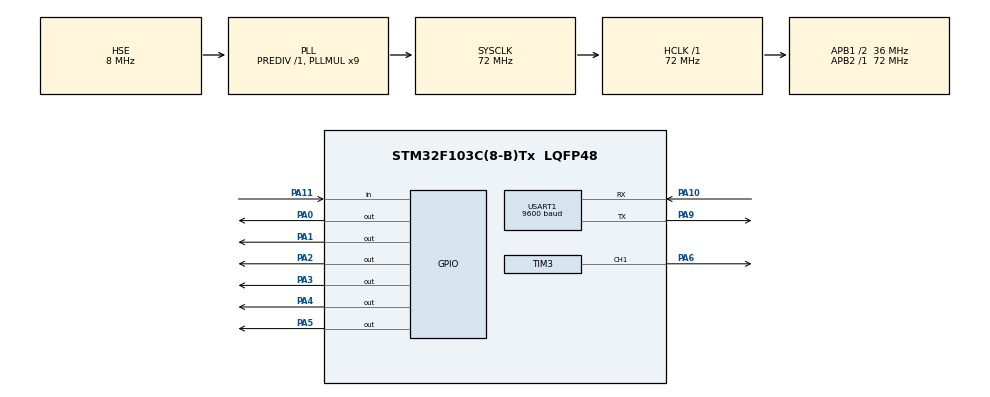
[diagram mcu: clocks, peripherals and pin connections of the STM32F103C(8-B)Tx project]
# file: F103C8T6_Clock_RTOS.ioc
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FREERTOS.Mutexes01=myLCD_Mutex,Dynamic,NULL;myRTC_Mutex,Dynamic,NULL
FREERTOS.Queues01=setTimeQueue,3,RTC_TimeTypeDef,0,Dynamic,NULL,NULL;setDateQueue,3,RTC_DateTypeDef,0,Dynamic,NULL,NULL;setAlarmQueue,3,ALARM_TypeDef,0,Dynamic,NULL,NULL;setRingQueue,3,uint8_t,0,Dynamic,NULL,NULL
FREERTOS.Tasks01=defaultTask,24,128,StartDefaultTask,Default,NULL,Dynamic,NULL,NULL;myUART_task,24,128,StartUART_task,Default,NULL,Dynamic,NULL,NULL;myLCD_task,24,128,StartLCD_task,Default,NULL,Dynamic,NULL,NULL;mySetTime_task,24,128,StartSetTime_task,Default,NULL,Dynamic,NULL,NULL;mySetDate_task,24,128,StartSetDate_task,Default,NULL,Dynamic,NULL,NULL;myAlarm_task,24,128,StartAlarm_task,Default,NULL,Dynamic,NULL,NULL;mySetAlarm_task,24,128,StartSetAlarm_task,Default,NULL,Dynamic,NULL,NULL;myRing_task,24,128,StartRing_task,Default,NULL,Dynamic,NULL,NULL;myButtons_task,24,128,StartButtons_task,Default,NULL,Dynamic,NULL,NULL
FREERTOS.configTOTAL_HEAP_SIZE=8192
Mcu.Family=STM32F1
Mcu.Name=STM32F103C(8-B)Tx
Mcu.Package=LQFP48
NVIC.PriorityGroup=NVIC_PRIORITYGROUP_4
NVIC.RTC_IRQn=true\:5\:0\:false\:false\:true\:true\:true\:true
NVIC.TIM1_UP_IRQn=true\:0\:0\:false\:false\:true\:false\:false\:true
NVIC.TIM2_IRQn=true\:5\:0\:false\:false\:true\:true\:true\:true
NVIC.TIM3_IRQn=true\:5\:0\:false\:false\:true\:true\:true\:true
NVIC.TimeBase=TIM1_UP_IRQn
NVIC.TimeBaseIP=TIM1
NVIC.USART1_IRQn=true\:5\:0\:false\:false\:true\:true\:true\:true
PA0-WKUP.Signal=GPIO_Output
PA1.Signal=GPIO_Output
PA10.Mode=Asynchronous
PA10.Signal=USART1_RX
PA11.GPIO_PuPd=GPIO_PULLDOWN
PA11.Signal=GPIO_Input
PA13.Mode=Serial_Wire
PA13.Signal=SYS_JTMS-SWDIO
PA14.Mode=Serial_Wire
PA14.Signal=SYS_JTCK-SWCLK
PA2.Signal=GPIO_Output
PA3.Signal=GPIO_Output
PA4.Signal=GPIO_Output
PA5.Signal=GPIO_Output
PA6.Signal=S_TIM3_CH1
PA9.Mode=Asynchronous
PA9.Signal=USART1_TX
PC14-OSC32_IN.Mode=LSE-External-Oscillator
PC14-OSC32_IN.Signal=RCC_OSC32_IN
PC15-OSC32_OUT.Mode=LSE-External-Oscillator
PC15-OSC32_OUT.Signal=RCC_OSC32_OUT
PD0-OSC_IN.Mode=HSE-External-Oscillator
PD0-OSC_IN.Signal=RCC_OSC_IN
PD1-OSC_OUT.Mode=HSE-External-Oscillator
PD1-OSC_OUT.Signal=RCC_OSC_OUT
ProjectManager.HeapSize=0x200
ProjectManager.StackSize=0x400
ProjectManager.TargetToolchain=MDK-ARM V5.27
RCC.AHBFreq_Value=72000000
RCC.APB1CLKDivider=RCC_HCLK_DIV2
RCC.APB1Freq_Value=36000000
RCC.APB1TimFreq_Value=72000000
RCC.APB2Freq_Value=72000000
RCC.APB2TimFreq_Value=72000000
RCC.HCLKFreq_Value=72000000
RCC.PLLMUL=RCC_PLL_MUL9
RCC.PLLSourceVirtual=RCC_PLLSOURCE_HSE
RCC.RTCClockSelection=RCC_RTCCLKSOURCE_LSE
RCC.SYSCLKFreq_VALUE=72000000
RCC.SYSCLKSource=RCC_SYSCLKSOURCE_PLLCLK
RCC.USBFreq_Value=72000000
SH.S_TIM3_CH1.0=TIM3_CH1,PWM Generation1 CH1
TIM2.Period=0xffff-1
TIM2.Prescaler=8-1
TIM3.Channel-PWM\ Generation1\ CH1=TIM_CHANNEL_1
TIM3.Period=3032
TIM3.Prescaler=17
TIM3.Pulse-PWM\ Generation1\ CH1=1500
USART1.BaudRate=9600
USART1.VirtualMode=VM_ASYNC
VP_FREERTOS_VS_CMSIS_V2.Mode=CMSIS_V2
VP_RTC_No_RTC_Output.Mode=RTC_OUT_NO
VP_RTC_VS_RTC_Activate.Mode=RTC_Enabled
VP_RTC_VS_RTC_Calendar.Mode=RTC_Calendar
VP_SYS_VS_tim1.Mode=TIM1
VP_TIM2_VS_ClockSourceINT.Mode=Internal
board=custom

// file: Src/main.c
/* USER CODE BEGIN Header */
/**
  ******************************************************************************
  * @file           : main.c
  * @brief          : Main program body
  ******************************************************************************
  * @attention
  *
  * <h2><center>&copy; Copyright (c) 2020 STMicroelectronics.
  * All rights reserved.</center></h2>
  *
  * This software component is licensed by ST under BSD 3-Clause license,
  * the "License"; You may not use this file except in compliance with the
  * License. You may obtain a copy of the License at:
  *                        opensource.org/licenses/BSD-3-Clause
  *
  ******************************************************************************
  */
/* USER CODE END Header */

#include "main.h"
#include "cmsis_os.h"

/* USER CODE BEGIN Includes */
#include "myLCD.h"
#include "myALARM.h"
#include "song.h"
/* USER CODE END Includes */

/* USER CODE BEGIN PTD */
typedef enum{
	UCLOCK_NO_COMMAND=0,
	UCLOCK_SET_TIME,
	UCLOCK_SET_DATE,
	UCLOCK_SET_ALARM,
	UCLOCK_SET_TEXT
}myClockCommand;
int gggg=0;
/* USER CODE END PTD */

/* USER CODE BEGIN PD */

int song1[][2]={	{E2,400},{F2,400},{G2,400},{B2,400},{A2,400},{G2,400},{F2,400},{E2,400},{D2D,400},{E2,400},{F2,400},{B1,400},{G2,400},{F2,400},{E2,800},
									{E2,400},{F2,400},{G2,400},{B2,400},{A2,400},{G2,400},{F2,400},{E2,400},{D2D,400},{E2,400},{F2,400},{B1,400},{G2,400},{F2,400},{E2,800},
									{0,200},{E2,200},{E2,200},{E2,200},{E2,200},{E2,200},{E2,200},{E2,200},{0,200},{E2,200},{E2,200},{E2,200},{E2,200},{E2,200},{E2,400},
									{0,200},{D2D,200},{D2D,200},{D2D,200},{D2D,200},{D2D,200},{D2D,200},{D2D,200},{E2,200},{E2,200},{E2,200},{E2,200},{E2,200},{F2,200},{E2,400},
									{0,200},{E2,200},{E2,200},{E2,200},{E2,200},{E2,200},{E2,200},{E2,200},{0,200},{E2,200},{E2,200},{E2,200},{E2,200},{C2,200},{C2,400},
									{0,200},{D2D,200},{D2D,200},{D2D,200},{D2D,200},{D2D,200},{D2D,200},{D2D,200},{E2,200},{E2,200},{E2,200},{E2,200},{E2,200},{F2,200},{E2,400}};

int song2[][2]={{E1,L8},{E1,L8},{E1,L4},{E1,L8},{B1,L4},{B1,L8},{G1,L4*4},
								{E1,L8},{E1,L8},{E1,L4},{E1,L4},{F1D,L4},{G1,L4},{G1,L4},{F1D,L4*2},
								{E1,L8},{E1,L8},{E1,L4},{E1,L8},{B1,L4},{B1,L8},{G1,L4*4},
								{E1,L8},{E1,L8},{E1,L4},{E1,L4},{F1D,L4},{G1,L4},{G1,L4},{F1D,L4},
								{E1,L4},{F1D,L4},{G1,L4},{G1,L8},{A1,L4},{A1,L8},{G1,L4*3},{G1,L8},
								{G1,L8},{G1,L4},{G1,L4},{G1,L4},{A1,L4},{G1,L4},{F1D,L4},{E1,L4},
								{F1D,L4},{G1,L4},{G1,L4},{F1D,L4},{F1D,L4},{E1,L4*3},{E1,L8},{E1,L8},
								{E1,L4},{E1,L4},{E1,L4},{F1D,L4},{E1,L4},{D1D,L4},{C1D,L4},{D1D,L4},{E1,L2}};

int song3[][2]={	{G2,L4},{C2,L4},{D2D,L8},{F2,L8},{G2,L4},{C2,L4},{D2D,L8},{F2,L8},{G2,L4},{C2,L4},{D2D,L8},{F2,L8},{G2,L4},{C2,L4},{D2D,L8},{F2,L8},{G2,L4},
								{C2,L4},{E2,L8},{F2,L8},{G2,L4},{C2,L4},{E2,L8},{F2,L8},{G2,L4},{C2,L4},{E2,L8},{F2,L8},{G2,L4},{C2,L4},{E2,L8},{F2,L8},
								{G1,L4*3},{C1,L4*3},{D1D,L8},{F1,L8},{G1,L2},{C1,L2},{D1D,L8},{F1,L8},{D1,L4},
								{G0,L4},{A0D,L8},{C1,L8},{D1,L4},{G0,L4},{A0D,L8},{C1,L8},{D1,L4},{G0,L4},{A0D,L8},{C1,L8},{D1,L4},{G0,L4},{A0D,L8},{C1,L8},{F1,L4*3},
								{A0D,L4*3},{D1D,L8},{D1,L8},{F1,L2},{A0D,L2},{D1D,L8},{D1,L8},{C1,L4},
								{F0,L4},{G0D,L8},{A0D,L8},{C1,L4},{F0,L4},{G0D,L8},{A0D,L8},{C1,L4},{F0,L4},{G0D,L8},{A0D,L8},{C1,L4},{F0,L4},{G0D,L8},{A0D,L8},{G1,L4*3},
								{C1,L4*3},{D1D,L8},{F1,L8},{G1,L2},{C1,L2},{D1D,L8},{F1,L8},{D1,L4},
								{G0,L4},{A0D,L8},{C1,L8},{D1,L4},{G0,L4},{A0D,L8},{C1,L8},{D1,L4},{G0,L4},{A0D,L8},{C1,L8},{D1,L4},{G0,L4},{A0D,L8},{C1,L8},
								{G2,L4*3},{C2,L4*3},{D2D,L8},{F2,L8},{G2,L2},{C2,L2},{D2D,L8},{F2,L8},{D2,L4},
								{G1,L4},{A1D,L8},{C2,L8},{D2,L4},{G1,L4},{A1D,L8},{C2,L8},{D2,L4},{G1,L4},{A1D,L8},{C2,L8},{D2,L4},{G1,L4},{A1D,L8},{C2,L8}};

int song4[][2]={	{G0,L2},{G0,L4},{G0,L4/3},{G0,L4/3},{G0,L4/3},{G0,L4},{G0,L4/3},{G0,L4/3},{G0,L4/3},
								{F0D,L4/3},{F0D,L4/3},{F0D,L4/3},{F0D,L4},
								{G0,L2},{G0,L4},{G0,L4/3},{G0,L4/3},{G0,L4/3},{G0,L4},{G0,L4/3},{G0,L4/3},{G0,L4/3},
								{F0D,L4/3},{F0D,L4/3},{F0D,L4/3},{F0D,L4},
								{G0,L2},{G0,L4},{G0,L4/3},{G0,L4/3},{G0,L4/3},{G0,L4},{G0,L4/3},{G0,L4/3},{G0,L4/3},
								{A0,L4/3},{A0,L4/3},{A0,L4/3},{A0,L4},
								{G0,L2},{G0,L4},{G0,L4/3},{G0,L4/3},{G0,L4/3},{G0,L4},{G0,L4/3},{G0,L4/3},{G0,L4/3},
								{A0,L4/3},{A0,L4/3},{A0,L4/3},{A0,L4},
								{G0,L2},{G0,L2},{G0,L2},{D0D,L2*6/8},{A0D,L8},{G0,L2},{D0D,L2*7/8},{A0D,L8},{G0,L4},{G0,L4/3},{G0,L4/3},{G0,L4/3},
								{A0,L4/3},{A0,L4/3},{A0,L4/3},{A0,L4},
								{D1,L2},{D1,L2},{D1,L2},{D1D,L2*6/8},{A0D,L8},{F0D,L4}};

/* USER CODE END PD */

RTC_HandleTypeDef hrtc;

TIM_HandleTypeDef htim2;
TIM_HandleTypeDef htim3;

UART_HandleTypeDef huart1;

/* Definitions for defaultTask */
osThreadId_t defaultTaskHandle;
const osThreadAttr_t defaultTask_attributes = {
  .name = "defaultTask",
  .priority = (osPriority_t) osPriorityNormal,
  .stack_size = 128 * 4
};
/* Definitions for myUART_task */
osThreadId_t myUART_taskHandle;
const osThreadAttr_t myUART_task_attributes = {
  .name = "myUART_task",
  .priority = (osPriority_t) osPriorityNormal,
  .stack_size = 128 * 4
};
/* Definitions for myLCD_task */
osThreadId_t myLCD_taskHandle;
const osThreadAttr_t myLCD_task_attributes = {
  .name = "myLCD_task",
  .priority = (osPriority_t) osPriorityNormal,
  .stack_size = 128 * 4
};
/* Definitions for mySetTime_task */
osThreadId_t mySetTime_taskHandle;
const osThreadAttr_t mySetTime_task_attributes = {
  .name = "mySetTime_task",
  .priority = (osPriority_t) osPriorityNormal,
  .stack_size = 128 * 4
};
/* Definitions for mySetDate_task */
osThreadId_t mySetDate_taskHandle;
const osThreadAttr_t mySetDate_task_attributes = {
  .name = "mySetDate_task",
  .priority = (osPriority_t) osPriorityNormal,
  .stack_size = 128 * 4
};
/* Definitions for myAlarm_task */
osThreadId_t myAlarm_taskHandle;
const osThreadAttr_t myAlarm_task_attributes = {
  .name = "myAlarm_task",
  .priority = (osPriority_t) osPriorityNormal,
  .stack_size = 128 * 4
};
/* Definitions for mySetAlarm_task */
osThreadId_t mySetAlarm_taskHandle;
const osThreadAttr_t mySetAlarm_task_attributes = {
  .name = "mySetAlarm_task",
  .priority = (osPriority_t) osPriorityNormal,
  .stack_size = 128 * 4
};
/* Definitions for myRing_task */
osThreadId_t myRing_taskHandle;
const osThreadAttr_t myRing_task_attributes = {
  .name = "myRing_task",
  .priority = (osPriority_t) osPriorityNormal,
  .stack_size = 128 * 4
};
/* Definitions for myButtons_task */
osThreadId_t myButtons_taskHandle;
const osThreadAttr_t myButtons_task_attributes = {
  .name = "myButtons_task",
  .priority = (osPriority_t) osPriorityNormal,
  .stack_size = 128 * 4
};
/* Definitions for setTimeQueue */
osMessageQueueId_t setTimeQueueHandle;
const osMessageQueueAttr_t setTimeQueue_attributes = {
  .name = "setTimeQueue"
};
/* Definitions for setDateQueue */
osMessageQueueId_t setDateQueueHandle;
const osMessageQueueAttr_t setDateQueue_attributes = {
  .name = "setDateQueue"
};
/* Definitions for setAlarmQueue */
osMessageQueueId_t setAlarmQueueHandle;
const osMessageQueueAttr_t setAlarmQueue_attributes = {
  .name = "setAlarmQueue"
};
/* Definitions for setRingQueue */
osMessageQueueId_t setRingQueueHandle;
const osMessageQueueAttr_t setRingQueue_attributes = {
  .name = "setRingQueue"
};
/* Definitions for myLCD_Mutex */
osMutexId_t myLCD_MutexHandle;
const osMutexAttr_t myLCD_Mutex_attributes = {
  .name = "myLCD_Mutex"
};
/* Definitions for myRTC_Mutex */
osMutexId_t myRTC_MutexHandle;
const osMutexAttr_t myRTC_Mutex_attributes = {
  .name = "myRTC_Mutex"
};

void SystemClock_Config(void);
static void MX_GPIO_Init(void);
static void MX_USART1_UART_Init(void);
static void MX_RTC_Init(void);
static void MX_TIM3_Init(void);
static void MX_TIM2_Init(void);
void StartDefaultTask(void *argument);
void StartUART_task(void *argument);
void StartLCD_task(void *argument);
void StartSetTime_task(void *argument);
void StartSetDate_task(void *argument);
void StartAlarm_task(void *argument);
void StartSetAlarm_task(void *argument);
void StartRing_task(void *argument);
void StartButtons_task(void *argument);

int main(void)
{

  /* MCU Configuration--------------------------------------------------------*/

  /* Reset of all peripherals, Initializes the Flash interface and the Systick. */
  HAL_Init();

  /* Configure the system clock */
  SystemClock_Config();

  /* Initialize all configured peripherals */
  MX_GPIO_Init();
  MX_USART1_UART_Init();
  MX_RTC_Init();
  MX_TIM3_Init();
  MX_TIM2_Init();
  /* USER CODE BEGIN 2 */
	//myLCD_Initialize();
	myLCD_Initialize();

	//ST7920_Clear();
	//ST7920_SendString(0,0, "HELLO WORLD");
  //ST7920_SendString(1,0, "FROM");
  //ST7920_SendString(2,0, "CONTROLLERSTECH");
  //ST7920_SendString(3,0, "1234567890!@#$%^");
  /* USER CODE END 2 */

  /* Init scheduler */
  osKernelInitialize();
  /* Create the mutex(es) */
  /* creation of myLCD_Mutex */
  myLCD_MutexHandle = osMutexNew(&myLCD_Mutex_attributes);

  /* creation of myRTC_Mutex */
  myRTC_MutexHandle = osMutexNew(&myRTC_Mutex_attributes);

  /* Create the queue(s) */
  /* creation of setTimeQueue */
  setTimeQueueHandle = osMessageQueueNew (3, sizeof(RTC_TimeTypeDef), &setTimeQueue_attributes);

  /* creation of setDateQueue */
  setDateQueueHandle = osMessageQueueNew (3, sizeof(RTC_DateTypeDef), &setDateQueue_attributes);

  /* creation of setAlarmQueue */
  setAlarmQueueHandle = osMessageQueueNew (3, sizeof(ALARM_TypeDef), &setAlarmQueue_attributes);

  /* creation of setRingQueue */
  setRingQueueHandle = osMessageQueueNew (3, sizeof(uint8_t), &setRingQueue_attributes);

  /* Create the thread(s) */
  /* creation of defaultTask */
  defaultTaskHandle = osThreadNew(StartDefaultTask, NULL, &defaultTask_attributes);

  /* creation of myUART_task */
  myUART_taskHandle = osThreadNew(StartUART_task, NULL, &myUART_task_attributes);

  /* creation of myLCD_task */
  myLCD_taskHandle = osThreadNew(StartLCD_task, NULL, &myLCD_task_attributes);

  /* creation of mySetTime_task */
  mySetTime_taskHandle = osThreadNew(StartSetTime_task, NULL, &mySetTime_task_attributes);

  /* creation of mySetDate_task */
  mySetDate_taskHandle = osThreadNew(StartSetDate_task, NULL, &mySetDate_task_attributes);

  /* creation of myAlarm_task */
  myAlarm_taskHandle = osThreadNew(StartAlarm_task, NULL, &myAlarm_task_attributes);

  /* creation of mySetAlarm_task */
  mySetAlarm_taskHandle = osThreadNew(StartSetAlarm_task, NULL, &mySetAlarm_task_attributes);

  /* creation of myRing_task */
  myRing_taskHandle = osThreadNew(StartRing_task, NULL, &myRing_task_attributes);

  /* creation of myButtons_task */
  myButtons_taskHandle = osThreadNew(StartButtons_task, NULL, &myButtons_task_attributes);

  /* Start scheduler */
  osKernelStart();

  /* We should never get here as control is now taken by the scheduler */
  /* Infinite loop */
  while (1)
  {

  }
}

void SystemClock_Config(void)
{
  RCC_OscInitTypeDef RCC_OscInitStruct = {0};
  RCC_ClkInitTypeDef RCC_ClkInitStruct = {0};
  RCC_PeriphCLKInitTypeDef PeriphClkInit = {0};

  /** Initializes the CPU, AHB and APB busses clocks
  */
  RCC_OscInitStruct.OscillatorType = RCC_OSCILLATORTYPE_HSE|RCC_OSCILLATORTYPE_LSE;
  RCC_OscInitStruct.HSEState = RCC_HSE_ON;
  RCC_OscInitStruct.HSEPredivValue = RCC_HSE_PREDIV_DIV1;
  RCC_OscInitStruct.LSEState = RCC_LSE_ON;
  RCC_OscInitStruct.HSIState = RCC_HSI_ON;
  RCC_OscInitStruct.PLL.PLLState = RCC_PLL_ON;
  RCC_OscInitStruct.PLL.PLLSource = RCC_PLLSOURCE_HSE;
  RCC_OscInitStruct.PLL.PLLMUL = RCC_PLL_MUL9;
  if (HAL_RCC_OscConfig(&RCC_OscInitStruct) != HAL_OK)
  {
    Error_Handler();
  }
  /** Initializes the CPU, AHB and APB busses clocks
  */
  RCC_ClkInitStruct.ClockType = RCC_CLOCKTYPE_HCLK|RCC_CLOCKTYPE_SYSCLK
                              |RCC_CLOCKTYPE_PCLK1|RCC_CLOCKTYPE_PCLK2;
  RCC_ClkInitStruct.SYSCLKSource = RCC_SYSCLKSOURCE_PLLCLK;
  RCC_ClkInitStruct.AHBCLKDivider = RCC_SYSCLK_DIV1;
  RCC_ClkInitStruct.APB1CLKDivider = RCC_HCLK_DIV2;
  RCC_ClkInitStruct.APB2CLKDivider = RCC_HCLK_DIV1;

  if (HAL_RCC_ClockConfig(&RCC_ClkInitStruct, FLASH_LATENCY_2) != HAL_OK)
  {
    Error_Handler();
  }
  PeriphClkInit.PeriphClockSelection = RCC_PERIPHCLK_RTC;
  PeriphClkInit.RTCClockSelection = RCC_RTCCLKSOURCE_LSE;
  if (HAL_RCCEx_PeriphCLKConfig(&PeriphClkInit) != HAL_OK)
  {
    Error_Handler();
  }
}

static void MX_RTC_Init(void)
{

  //RTC_TimeTypeDef sTime = {0};
  //RTC_DateTypeDef DateToUpdate = {0};

  /** Initialize RTC Only
  */
  hrtc.Instance = RTC;
  hrtc.Init.AsynchPrediv = RTC_AUTO_1_SECOND;
  hrtc.Init.OutPut = RTC_OUTPUTSOURCE_NONE;
  if (HAL_RTC_Init(&hrtc) != HAL_OK)
  {
    Error_Handler();
  }

  /** Initialize RTC and set the Time and Date
  */
  //sTime.Hours = 0x0;
  //sTime.Minutes = 0x0;
  //sTime.Seconds = 0x0;
	//
  //if (HAL_RTC_SetTime(&hrtc, &sTime, RTC_FORMAT_BCD) != HAL_OK)
  //{
  //  Error_Handler();
  //}
  //DateToUpdate.WeekDay = RTC_WEEKDAY_MONDAY;
  //DateToUpdate.Month = RTC_MONTH_JANUARY;
  //DateToUpdate.Date = 0x1;
  //DateToUpdate.Year = 0x0;
	//
  //if (HAL_RTC_SetDate(&hrtc, &DateToUpdate, RTC_FORMAT_BCD) != HAL_OK)
  //{
  //  Error_Handler();
  //}

}

static void MX_TIM2_Init(void)
{

  TIM_ClockConfigTypeDef sClockSourceConfig = {0};
  TIM_MasterConfigTypeDef sMasterConfig = {0};

  htim2.Instance = TIM2;
  htim2.Init.Prescaler = 8-1;
  htim2.Init.CounterMode = TIM_COUNTERMODE_UP;
  htim2.Init.Period = 0xffff-1;
  htim2.Init.ClockDivision = TIM_CLOCKDIVISION_DIV1;
  htim2.Init.AutoReloadPreload = TIM_AUTORELOAD_PRELOAD_DISABLE;
  if (HAL_TIM_Base_Init(&htim2) != HAL_OK)
  {
    Error_Handler();
  }
  sClockSourceConfig.ClockSource = TIM_CLOCKSOURCE_INTERNAL;
  if (HAL_TIM_ConfigClockSource(&htim2, &sClockSourceConfig) != HAL_OK)
  {
    Error_Handler();
  }
  sMasterConfig.MasterOutputTrigger = TIM_TRGO_RESET;
  sMasterConfig.MasterSlaveMode = TIM_MASTERSLAVEMODE_DISABLE;
  if (HAL_TIMEx_MasterConfigSynchronization(&htim2, &sMasterConfig) != HAL_OK)
  {
    Error_Handler();
  }

}

static void MX_TIM3_Init(void)
{

  TIM_MasterConfigTypeDef sMasterConfig = {0};
  TIM_OC_InitTypeDef sConfigOC = {0};

  htim3.Instance = TIM3;
  htim3.Init.Prescaler = 17;
  htim3.Init.CounterMode = TIM_COUNTERMODE_UP;
  htim3.Init.Period = 3032;
  htim3.Init.ClockDivision = TIM_CLOCKDIVISION_DIV1;
  htim3.Init.AutoReloadPreload = TIM_AUTORELOAD_PRELOAD_DISABLE;
  if (HAL_TIM_PWM_Init(&htim3) != HAL_OK)
  {
    Error_Handler();
  }
  sMasterConfig.MasterOutputTrigger = TIM_TRGO_RESET;
  sMasterConfig.MasterSlaveMode = TIM_MASTERSLAVEMODE_DISABLE;
  if (HAL_TIMEx_MasterConfigSynchronization(&htim3, &sMasterConfig) != HAL_OK)
  {
    Error_Handler();
  }
  sConfigOC.OCMode = TIM_OCMODE_PWM1;
  sConfigOC.Pulse = 1500;
  sConfigOC.OCPolarity = TIM_OCPOLARITY_HIGH;
  sConfigOC.OCFastMode = TIM_OCFAST_DISABLE;
  if (HAL_TIM_PWM_ConfigChannel(&htim3, &sConfigOC, TIM_CHANNEL_1) != HAL_OK)
  {
    Error_Handler();
  }
  HAL_TIM_MspPostInit(&htim3);

}

static void MX_USART1_UART_Init(void)
{

  huart1.Instance = USART1;
  huart1.Init.BaudRate = 9600;
  huart1.Init.WordLength = UART_WORDLENGTH_8B;
  huart1.Init.StopBits = UART_STOPBITS_1;
  huart1.Init.Parity = UART_PARITY_NONE;
  huart1.Init.Mode = UART_MODE_TX_RX;
  huart1.Init.HwFlowCtl = UART_HWCONTROL_NONE;
  huart1.Init.OverSampling = UART_OVERSAMPLING_16;
  if (HAL_UART_Init(&huart1) != HAL_OK)
  {
    Error_Handler();
  }

}

static void MX_GPIO_Init(void)
{
  GPIO_InitTypeDef GPIO_InitStruct = {0};

  /* GPIO Ports Clock Enable */
  __HAL_RCC_GPIOC_CLK_ENABLE();
  __HAL_RCC_GPIOD_CLK_ENABLE();
  __HAL_RCC_GPIOA_CLK_ENABLE();

  /*Configure GPIO pin Output Level */
  HAL_GPIO_WritePin(GPIOA, GPIO_PIN_0|GPIO_PIN_1|GPIO_PIN_2|GPIO_PIN_3
                          |GPIO_PIN_4|GPIO_PIN_5, GPIO_PIN_RESET);

  /*Configure GPIO pins : PA0 PA1 PA2 PA3
                           PA4 PA5 */
  GPIO_InitStruct.Pin = GPIO_PIN_0|GPIO_PIN_1|GPIO_PIN_2|GPIO_PIN_3
                          |GPIO_PIN_4|GPIO_PIN_5;
  GPIO_InitStruct.Mode = GPIO_MODE_OUTPUT_PP;
  GPIO_InitStruct.Pull = GPIO_NOPULL;
  GPIO_InitStruct.Speed = GPIO_SPEED_FREQ_LOW;
  HAL_GPIO_Init(GPIOA, &GPIO_InitStruct);

  /*Configure GPIO pin : PA11 */
  GPIO_InitStruct.Pin = GPIO_PIN_11;
  GPIO_InitStruct.Mode = GPIO_MODE_INPUT;
  GPIO_InitStruct.Pull = GPIO_PULLDOWN;
  HAL_GPIO_Init(GPIOA, &GPIO_InitStruct);

}

void StartDefaultTask(void *argument)
{
  for(;;)
  {
    osDelay(1);
  }
}

void StartUART_task(void *argument)
{
  /* USER CODE BEGIN StartUART_task */
	uint8_t command =0;
	uint8_t time_mass[3]={0};
	uint8_t date_mass[4]={0};
	uint8_t alarm_mass[6];

	HAL_StatusTypeDef status;
	RTC_TimeTypeDef time;
	RTC_DateTypeDef date;
	ALARM_TypeDef alarm;

	//time.DayLightSaving = RTC_DAYLIGHTSAVING_NONE;
  //time.StoreOperation = RTC_STOREOPERATION_RESET;

	char* trans_date = "Transmit";
  /* Infinite loop */
  for(;;)
  {

		HAL_UART_Receive(&huart1, &command, 1,200);

		if(command)
		{
			switch(command)
			{
				case UCLOCK_SET_TEXT:
				{
					break;
				}
				case UCLOCK_SET_TIME:
				{
					status = HAL_UART_Receive(&huart1, time_mass, 3,1000);
					command=UCLOCK_NO_COMMAND;
					if(status !=HAL_OK)
					{
						osMutexWait(myLCD_MutexHandle,portMAX_DELAY);
						myLCD_ClearLCDScreen();
						myLCD_PrintStr("Error get TIME");
						myLCD_Cursor(1,0);
						myLCD_PrintStr("from uart");
						osDelay(1000);
						myLCD_ClearLCDScreen();
						osMutexRelease(myLCD_MutexHandle);
						break;
					}
					//-----------
					time.Hours=time_mass[0];
					time.Minutes = time_mass[1];
					time.Seconds = time_mass[2];

					osMessageQueuePut(setTimeQueueHandle,&time,0U,200);
					osDelay(200);

					HAL_UART_Transmit(&huart1,(uint8_t*)trans_date,sizeof(trans_date),2000);

					break;
				}
				case UCLOCK_SET_DATE:
				{
					status = HAL_UART_Receive(&huart1, date_mass, 4,1000);
					command=UCLOCK_NO_COMMAND;
					if(status !=HAL_OK)
					{
						osMutexWait(myLCD_MutexHandle,portMAX_DELAY);
						myLCD_ClearLCDScreen();
						myLCD_PrintStr("Error get DATE");
						myLCD_Cursor(1,0);
						myLCD_PrintStr("from uart");
						osDelay(1000);
						myLCD_ClearLCDScreen();
						osMutexRelease(myLCD_MutexHandle);
						break;
					}
					date.Date = date_mass[0];
					date.Month = date_mass[1];
					date.Year = date_mass[2];
					date.WeekDay = date_mass[3];

					osMessageQueuePut(setDateQueueHandle,&date,0U,200);
					osDelay(20);
					break;

				}
				case UCLOCK_SET_ALARM:
				{
					status = HAL_UART_Receive(&huart1, alarm_mass, 6,1000);
					command=UCLOCK_NO_COMMAND;
					if(status !=HAL_OK)
					{
						osMutexWait(myLCD_MutexHandle,portMAX_DELAY);
						myLCD_ClearLCDScreen();
						myLCD_PrintStr("Error get ALARM");
						myLCD_Cursor(1,0);
						myLCD_PrintStr("from uart");
						osDelay(1000);
						myLCD_ClearLCDScreen();
						osMutexRelease(myLCD_MutexHandle);
						break;
					}

					alarm.day = alarm_mass[0];
					alarm.month = alarm_mass[1];
					alarm.year = alarm_mass[2];
					alarm.hour = alarm_mass[3];
					alarm.minute = alarm_mass[4];
					alarm.alarm_type = alarm_mass[5];

					osMessageQueuePut(setAlarmQueueHandle,&alarm,0U,200);
					osDelay(20);

					break;
				}
			}
		}

  }
  /* USER CODE END StartUART_task */
}

void StartLCD_task(void *argument)
{
  /* USER CODE BEGIN StartLCD_task */
	RTC_TimeTypeDef time;
	RTC_DateTypeDef date;
	uint32_t tickcount = osKernelGetTickCount();
	myLCD_ClearLCDScreen();

  /* Infinite loop */
  for(;;)
  {
		osMutexWait(myLCD_MutexHandle,portMAX_DELAY);
		myLCD_Cursor(0,0);
		HAL_RTC_GetTime(&hrtc,&time,RTC_FORMAT_BIN);

		myLCD_PrintInt_clock(time.Hours);
		myLCD_PrintStr(":");
		myLCD_PrintInt_clock(time.Minutes);
		myLCD_PrintStr(":");
		myLCD_PrintInt_clock(time.Seconds);

		HAL_RTC_GetDate(&hrtc,&date,RTC_FORMAT_BIN);
		myLCD_Cursor(1,0);
		myLCD_PrintInt_clock(date.Date);
		myLCD_PrintStr(".");
		myLCD_PrintInt_clock(date.Month);
		myLCD_PrintStr(".");
		myLCD_PrintInt_clock(date.Year);
		myLCD_PrintStr(" ");
		myLCD_PrintWeekDay(date.WeekDay);
		osMutexRelease(myLCD_MutexHandle);

		tickcount+=1000;
    osDelayUntil(tickcount);
  }
  /* USER CODE END StartLCD_task */
}

void StartSetTime_task(void *argument)
{
  /* USER CODE BEGIN StartSetTime_task */
	RTC_TimeTypeDef time;
	osStatus_t status;
  /* Infinite loop */
  for(;;)
  {
		status = osMessageQueueGet(setTimeQueueHandle,&time,NULL,osWaitForever);
		if(status != osOK)
		{
			myLCD_ClearLCDScreen();
			myLCD_PrintStr("Error time queue");
		}
		else{
		HAL_RTC_SetTime(&hrtc,&time,RTC_FORMAT_BIN);
		}
    osDelay(1000);

  }
  /* USER CODE END StartSetTime_task */
}

void StartSetDate_task(void *argument)
{
  /* USER CODE BEGIN StartSetDate_task */
	RTC_DateTypeDef date;
	osStatus_t status;
  /* Infinite loop */
  for(;;)
  {
    status = osMessageQueueGet(setDateQueueHandle,&date,NULL,osWaitForever);
		if(status != osOK)
		{
			myLCD_ClearLCDScreen();
			myLCD_PrintStr("Error date queue");
		}
		else{
		HAL_RTC_SetDate(&hrtc,&date,RTC_FORMAT_BIN);
		}
    osDelay(1000);
  }
  /* USER CODE END StartSetDate_task */
}

void StartAlarm_task(void *argument)
{
  /* USER CODE BEGIN StartAlarm_task */
	RTC_DateTypeDef date;
	RTC_TimeTypeDef time;
	uint8_t ring_command;
  /* Infinite loop */
  for(;;)
  {
		HAL_RTC_GetDate(&hrtc,&date,RTC_FORMAT_BIN);
		osDelay(10);
		HAL_RTC_GetTime(&hrtc,&time,RTC_FORMAT_BIN);
		osDelay(10);
		for(int i=0;i<Alarms.alarms_count;i++)
		{
			if(	Alarms.alarms_data[i].year == date.Year
				& Alarms.alarms_data[i].month == date.Month
				& Alarms.alarms_data[i].day == date.Date
				||
				Alarms.alarms_data[i].week_day == date.WeekDay)
			{

				if(Alarms.alarms_data[i].hour == time.Hours
				&  Alarms.alarms_data[i].minute == time.Minutes)
				{
					switch(Alarms.alarms_data[i].alarm_type)
					{
						case ALARM_NO_REPEAT:
						{
							for(int j=i;j<Alarms.alarms_count-1;j++)
							{
								Alarms.alarms_data[j]=Alarms.alarms_data[j+1];
							}
							i--;
							Alarms.alarms_count--;
							break;
						}
						case ALARM_EVERY_DAY:
						{
							//30 days in month
							if(date.Month == 4
							|| date.Month == 6
							|| date.Month == 9
							|| date.Month == 11)
							{
								if(date.Date==30)
								{
									Alarms.alarms_data[i].month++;
									Alarms.alarms_data[i].day =1;
								}
								else
								{
									Alarms.alarms_data[i].day++;
								}
							}//31 days in month
							else if(date.Month == 1
									 || date.Month == 3
									 || date.Month == 5
									 || date.Month == 7
									 || date.Month == 8
									 || date.Month == 10)
							{
								if(date.Date==31)
								{
									Alarms.alarms_data[i].month++;
									Alarms.alarms_data[i].day =1;
								}
								else
								{
									Alarms.alarms_data[i].day++;
								}
							}
							else if(date.Month == 12)
							{
								if(date.Date==31)
								{
									Alarms.alarms_data[i].month = 1;
									Alarms.alarms_data[i].day =1;
									Alarms.alarms_data[i].year++;
								}
								else
								{
									Alarms.alarms_data[i].day++;
								}
							}
							else if(date.Month==2)
							{
								if(date.Year%4==0)
								{
									if(date.Date==29)
									{
										Alarms.alarms_data[i].month++;
										Alarms.alarms_data[i].day =1;
									}
									else
									{
										Alarms.alarms_data[i].day++;
									}
								}
								else
								{
									if(date.Date==28)
									{
										Alarms.alarms_data[i].month++;
										Alarms.alarms_data[i].day =1;
									}
									else
									{
										Alarms.alarms_data[i].day++;
									}
								}
							}
						}
						case ALARM_EVERY_WEEK:
						{

							break;
						}
						case ALARM_EVERY_MONTH:
						{
							if(Alarms.alarms_data[i].month==12) Alarms.alarms_data[i].month =1;
							else Alarms.alarms_data[i].month++;
							break;
						}
					}

					ring_command =1;
					osMessageQueuePut(setRingQueueHandle,&ring_command,0U,200);

					osMutexWait(myLCD_MutexHandle,portMAX_DELAY);
					myLCD_ClearLCDScreen();
					myLCD_Cursor(0,0);
					myLCD_PrintStr("ALARMA DETECTED");
					myLCD_Cursor(1,0);
					myLCD_PrintInt(Alarms.alarms_count);
					osDelay(3000);
					myLCD_ClearLCDScreen();
					osMutexRelease(myLCD_MutexHandle);
				}
			}
		}
    osDelay(3000);
  }
  /* USER CODE END StartAlarm_task */
}

void StartSetAlarm_task(void *argument)
{
  /* USER CODE BEGIN StartSetAlarm_task */
	ALARM_TypeDef alarm;
  osStatus_t status;
	osMessageQueueReset(setAlarmQueueHandle);
  /* Infinite loop */
  for(;;)
  {
    status = osMessageQueueGet(setAlarmQueueHandle,&alarm,NULL,osWaitForever);
		if(status != osOK)
		{
			myLCD_ClearLCDScreen();
			myLCD_PrintStr("Error alarm queue");
		}
		else{

			if(Alarms.alarms_count < ALARM_ALARMS_MAX)
			{
				Alarms.alarms_data[Alarms.alarms_count]=alarm;
				Alarms.alarms_count++;
			}
			else
			{
				for(int i=0;i<Alarms.alarms_count;i++)
				{
					if(Alarms.alarms_data[i].alarm_type==ALARM_NOT_SET)
					{
						Alarms.alarms_data[i] = alarm;
						break;
					}
				}
			}
		}
    osDelay(1000);
  }
  /* USER CODE END StartSetAlarm_task */
}

void StartRing_task(void *argument)
{
  /* USER CODE BEGIN StartRing_task */
	uint8_t ring_command=1;
	SystemCoreClockUpdate();
	uint8_t divider = TIM3->PSC+1;
	uint8_t randomik=0;

	TIM_OC_InitTypeDef sConfigOC = {0};
  /* Infinite loop */
  for(int j=0;j<1;j++)
	{
		for(int i=0;i<sizeof(song2)/8;i++)
			{
				osMessageQueueGet(setRingQueueHandle,&ring_command,NULL,0U);
				if(ring_command==0)break;
				HAL_TIM_PWM_Stop(&htim3,TIM_CHANNEL_1);
				osDelay(30);
				htim3.Init.Period = SystemCoreClock/(song2[i][0]*divider);
				HAL_TIM_PWM_Init(&htim3);
				sConfigOC.OCMode = TIM_OCMODE_PWM1;
				sConfigOC.Pulse = (SystemCoreClock)/(song2[i][0]*divider*256);
				sConfigOC.OCPolarity = TIM_OCPOLARITY_HIGH;
				sConfigOC.OCFastMode = TIM_OCFAST_DISABLE;
				HAL_TIM_PWM_ConfigChannel(&htim3, &sConfigOC, TIM_CHANNEL_1);
				HAL_TIM_PWM_Start(&htim3,TIM_CHANNEL_1);
				osDelay(song2[i][1]-30);
			}
			HAL_TIM_PWM_Stop(&htim3,TIM_CHANNEL_1);
	}

  for(;;)
  {
		osMessageQueueGet(setRingQueueHandle,&ring_command,NULL,osWaitForever);
		if(ring_command>0)
		{
			if(randomik>=3)randomik=0;
			else randomik++;

			switch(randomik)
			{
				case 0:
				{
					for(int i=0;i<sizeof(song1)/(8);i++)
					{
						osMessageQueueGet(setRingQueueHandle,&ring_command,NULL,0U);
						if(ring_command==0)break;
						HAL_TIM_PWM_Stop(&htim3,TIM_CHANNEL_1);
						osDelay(10);
						htim3.Init.Period = SystemCoreClock/(song1[i][0]*divider);
						HAL_TIM_PWM_Init(&htim3);
						sConfigOC.OCMode = TIM_OCMODE_PWM1;
						sConfigOC.Pulse = (SystemCoreClock)/(song1[i][0]*divider*256);
						sConfigOC.OCPolarity = TIM_OCPOLARITY_HIGH;
						sConfigOC.OCFastMode = TIM_OCFAST_DISABLE;
						HAL_TIM_PWM_ConfigChannel(&htim3, &sConfigOC, TIM_CHANNEL_1);
						HAL_TIM_PWM_Start(&htim3,TIM_CHANNEL_1);
						osDelay(song1[i][1]-10);
					}
					break;
				}
				case 1:
				{
					for(int i=0;i<sizeof(song2)/(8);i++)
					{
						osMessageQueueGet(setRingQueueHandle,&ring_command,NULL,0U);
						if(ring_command==0)break;
						HAL_TIM_PWM_Stop(&htim3,TIM_CHANNEL_1);
						osDelay(10);
						htim3.Init.Period = SystemCoreClock/(song2[i][0]*divider);
						HAL_TIM_PWM_Init(&htim3);
						sConfigOC.OCMode = TIM_OCMODE_PWM1;
						sConfigOC.Pulse = (SystemCoreClock)/(song2[i][0]*divider*256);
						sConfigOC.OCPolarity = TIM_OCPOLARITY_HIGH;
						sConfigOC.OCFastMode = TIM_OCFAST_DISABLE;
						HAL_TIM_PWM_ConfigChannel(&htim3, &sConfigOC, TIM_CHANNEL_1);
						HAL_TIM_PWM_Start(&htim3,TIM_CHANNEL_1);
						osDelay(song2[i][1]-10);
					}
					break;
				}
				case 2:
				{
					for(int i=0;i<sizeof(song3)/(8);i++)
					{
						osMessageQueueGet(setRingQueueHandle,&ring_command,NULL,0U);
						if(ring_command==0)break;
						HAL_TIM_PWM_Stop(&htim3,TIM_CHANNEL_1);
						osDelay(10);
						htim3.Init.Period = SystemCoreClock/(song3[i][0]*divider);
						HAL_TIM_PWM_Init(&htim3);
						sConfigOC.OCMode = TIM_OCMODE_PWM1;
						sConfigOC.Pulse = (SystemCoreClock)/(song3[i][0]*divider*256);
						sConfigOC.OCPolarity = TIM_OCPOLARITY_HIGH;
						sConfigOC.OCFastMode = TIM_OCFAST_DISABLE;
						HAL_TIM_PWM_ConfigChannel(&htim3, &sConfigOC, TIM_CHANNEL_1);
						HAL_TIM_PWM_Start(&htim3,TIM_CHANNEL_1);
						osDelay(song3[i][1]-10);
					}
					break;
				}
				case 3:
				{
					for(int i=0;i<sizeof(song4)/(8);i++)
					{
						osMessageQueueGet(setRingQueueHandle,&ring_command,NULL,0U);
						if(ring_command==0)break;
						HAL_TIM_PWM_Stop(&htim3,TIM_CHANNEL_1);
						osDelay(10);
						htim3.Init.Period = SystemCoreClock/(song4[i][0]*divider);
						HAL_TIM_PWM_Init(&htim3);
						sConfigOC.OCMode = TIM_OCMODE_PWM1;
						sConfigOC.Pulse = (SystemCoreClock)/(song4[i][0]*divider*256);
						sConfigOC.OCPolarity = TIM_OCPOLARITY_HIGH;
						sConfigOC.OCFastMode = TIM_OCFAST_DISABLE;
						HAL_TIM_PWM_ConfigChannel(&htim3, &sConfigOC, TIM_CHANNEL_1);
						HAL_TIM_PWM_Start(&htim3,TIM_CHANNEL_1);
						osDelay(song4[i][1]-10);
					}
					break;
				}
			}

		HAL_TIM_PWM_Stop(&htim3,TIM_CHANNEL_1);
		}
		else
		{
			HAL_TIM_PWM_Stop(&htim3,TIM_CHANNEL_1);
		}
    osDelay(1);
  }
  /* USER CODE END StartRing_task */
}

void StartButtons_task(void *argument)
{
  /* USER CODE BEGIN StartButtons_task */
	uint8_t ring_command,button;
  /* Infinite loop */
  for(;;)
  {
		button = HAL_GPIO_ReadPin(GPIOA,GPIO_PIN_11);
		if(button==1)
		{
			ring_command =0;
			osMessageQueuePut(setRingQueueHandle,&ring_command,0U,200);
		}
    osDelay(10);
  }
  /* USER CODE END StartButtons_task */
}

 /**
  * @brief  Period elapsed callback in non blocking mode
  * @note   This function is called  when TIM1 interrupt took place, inside
  * HAL_TIM_IRQHandler(). It makes a direct call to HAL_IncTick() to increment
  * a global variable "uwTick" used as application time base.
  * @param  htim : TIM handle
  * @retval None
  */
void HAL_TIM_PeriodElapsedCallback(TIM_HandleTypeDef *htim)
{
  if (htim->Instance == TIM1) {
    HAL_IncTick();
  }
}

void Error_Handler(void)
{
}

/************************ (C) COPYRIGHT STMicroelectronics *****END OF FILE****/
